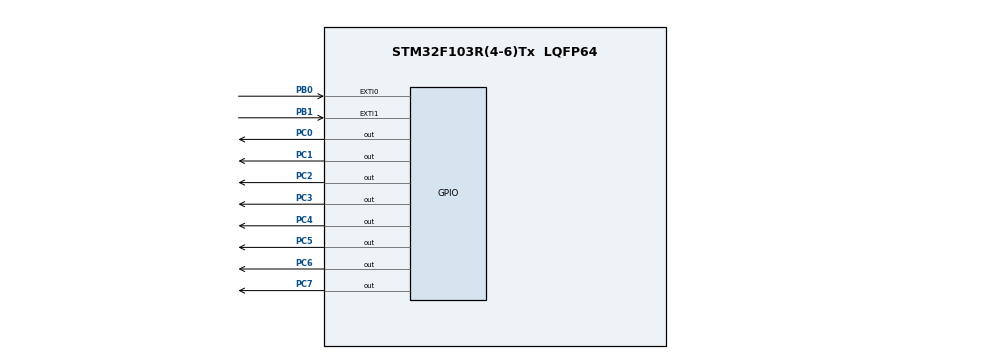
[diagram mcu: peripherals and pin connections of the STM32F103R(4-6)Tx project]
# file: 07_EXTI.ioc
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Mcu.Family=STM32F1
Mcu.Name=STM32F103R(4-6)Tx
Mcu.Package=LQFP64
NVIC.EXTI0_IRQn=true\:2\:2\:true\:false\:true\:true\:true\:true
NVIC.EXTI1_IRQn=true\:1\:1\:true\:false\:true\:true\:true\:true
NVIC.PriorityGroup=NVIC_PRIORITYGROUP_2
PB0.GPIO_ModeDefaultEXTI=GPIO_MODE_IT_FALLING
PB0.Signal=GPXTI0
PB1.GPIO_ModeDefaultEXTI=GPIO_MODE_IT_FALLING
PB1.Signal=GPXTI1
PC0.Signal=GPIO_Output
PC1.Signal=GPIO_Output
PC2.Signal=GPIO_Output
PC3.Signal=GPIO_Output
PC4.Signal=GPIO_Output
PC5.Signal=GPIO_Output
PC6.Signal=GPIO_Output
PC7.Signal=GPIO_Output
ProjectManager.HeapSize=0x200
ProjectManager.StackSize=0x400
ProjectManager.TargetToolchain=MDK-ARM V5.32
RCC.APB1Freq_Value=8000000
RCC.APB2Freq_Value=8000000
VP_SYS_VS_ND.Mode=No_Debug
board=custom

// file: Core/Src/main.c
/* USER CODE BEGIN Header */
/**
  ******************************************************************************
  * @file           : main.c
  * @brief          : Main program body
  ******************************************************************************
  * @attention
  *
  * Copyright (c) 2022 STMicroelectronics.
  * All rights reserved.
  *
  * This software is licensed under terms that can be found in the LICENSE file
  * in the root directory of this software component.
  * If no LICENSE file comes with this software, it is provided AS-IS.
  *
  ******************************************************************************
  */
/* USER CODE END Header */
#include "main.h"
#include "gpio.h"

void SystemClock_Config(void);
/* USER CODE BEGIN PFP */
void ByteOut2PC(uint8_t dat);  //声明函数
/* USER CODE END PFP */

int main(void)
{
  /* USER CODE BEGIN 1 */
	int8_t i;   //循环变量i
  /* USER CODE END 1 */

  /* MCU Configuration--------------------------------------------------------*/

  /* Reset of all peripherals, Initializes the Flash interface and the Systick. */
  HAL_Init();

  /* Configure the system clock */
  SystemClock_Config();

  /* Initialize all configured peripherals */
  MX_GPIO_Init();

  /* Infinite loop */
  /* USER CODE BEGIN WHILE */
  while (1)
  {
		for(i=0; i<8; i++)
		{
			ByteOut2PC((0xfe<<i)|(0xfe>>(8-i)));  //正常流水灯状态
			HAL_Delay(500);
		}
    /* USER CODE END WHILE */

  }
}

void SystemClock_Config(void)
{
  RCC_OscInitTypeDef RCC_OscInitStruct = {0};
  RCC_ClkInitTypeDef RCC_ClkInitStruct = {0};

  /** Initializes the RCC Oscillators according to the specified parameters
  * in the RCC_OscInitTypeDef structure.
  */
  RCC_OscInitStruct.OscillatorType = RCC_OSCILLATORTYPE_HSI;
  RCC_OscInitStruct.HSIState = RCC_HSI_ON;
  RCC_OscInitStruct.HSICalibrationValue = RCC_HSICALIBRATION_DEFAULT;
  RCC_OscInitStruct.PLL.PLLState = RCC_PLL_NONE;
  if (HAL_RCC_OscConfig(&RCC_OscInitStruct) != HAL_OK)
  {
    Error_Handler();
  }

  /** Initializes the CPU, AHB and APB buses clocks
  */
  RCC_ClkInitStruct.ClockType = RCC_CLOCKTYPE_HCLK|RCC_CLOCKTYPE_SYSCLK
                              |RCC_CLOCKTYPE_PCLK1|RCC_CLOCKTYPE_PCLK2;
  RCC_ClkInitStruct.SYSCLKSource = RCC_SYSCLKSOURCE_HSI;
  RCC_ClkInitStruct.AHBCLKDivider = RCC_SYSCLK_DIV1;
  RCC_ClkInitStruct.APB1CLKDivider = RCC_HCLK_DIV1;
  RCC_ClkInitStruct.APB2CLKDivider = RCC_HCLK_DIV1;

  if (HAL_RCC_ClockConfig(&RCC_ClkInitStruct, FLASH_LATENCY_0) != HAL_OK)
  {
    Error_Handler();
  }
}

/* USER CODE BEGIN 4 */
//自定义函数，将1字节数据输出到PC端口的PC0-PC7引脚
void ByteOut2PC(uint8_t dat)
{
	if(dat & 0x01)
		HAL_GPIO_WritePin(GPIOC, GPIO_PIN_0, 1);
	else
		HAL_GPIO_WritePin(GPIOC, GPIO_PIN_0, 0);
	if(dat & 0x02)
		HAL_GPIO_WritePin(GPIOC, GPIO_PIN_1, 1);
	else
		HAL_GPIO_WritePin(GPIOC, GPIO_PIN_1, 0);
	if(dat & 0x04)
		HAL_GPIO_WritePin(GPIOC, GPIO_PIN_2, 1);
	else
		HAL_GPIO_WritePin(GPIOC, GPIO_PIN_2, 0);
	if(dat & 0x08)
		HAL_GPIO_WritePin(GPIOC, GPIO_PIN_3, 1);
	else
		HAL_GPIO_WritePin(GPIOC, GPIO_PIN_3, 0);
	if(dat & 0x10)
		HAL_GPIO_WritePin(GPIOC, GPIO_PIN_4, 1);
	else
		HAL_GPIO_WritePin(GPIOC, GPIO_PIN_4, 0);
	if(dat & 0x20)
		HAL_GPIO_WritePin(GPIOC, GPIO_PIN_5, 1);
	else
		HAL_GPIO_WritePin(GPIOC, GPIO_PIN_5, 0);
	if(dat & 0x40)
		HAL_GPIO_WritePin(GPIOC, GPIO_PIN_6, 1);
	else
		HAL_GPIO_WritePin(GPIOC, GPIO_PIN_6, 0);
	if(dat & 0x80)
		HAL_GPIO_WritePin(GPIOC, GPIO_PIN_7, 1);
	else
		HAL_GPIO_WritePin(GPIOC, GPIO_PIN_7, 0);
}

//中断回调函数
void HAL_GPIO_EXTI_Callback(uint16_t GPIO_Pin)
{
	int8_t i;  //循环变量
	if(GPIO_Pin == GPIO_PIN_0)  //检测到EXTI0线产生外部中断事件
	{
		for(i=0; i<3; i++)  //全亮全灭闪烁3次
		{
			ByteOut2PC(0xff);  //全灭
			HAL_Delay(500);
			ByteOut2PC(0);  //全亮
			HAL_Delay(500);
		}
	}
	else if(GPIO_Pin == GPIO_PIN_1) //检测到EXTI1线产生外部中断事件
	{
		for(i=0; i<3; i++)  //间隔交替闪烁3次
		{
			ByteOut2PC(0x55);
			HAL_Delay(500);
			ByteOut2PC(0xaa);
			HAL_Delay(500);
		}
	}
}

/* USER CODE END 4 */

void Error_Handler(void)
{
  __disable_irq();
  while (1)
  {
  }
}
